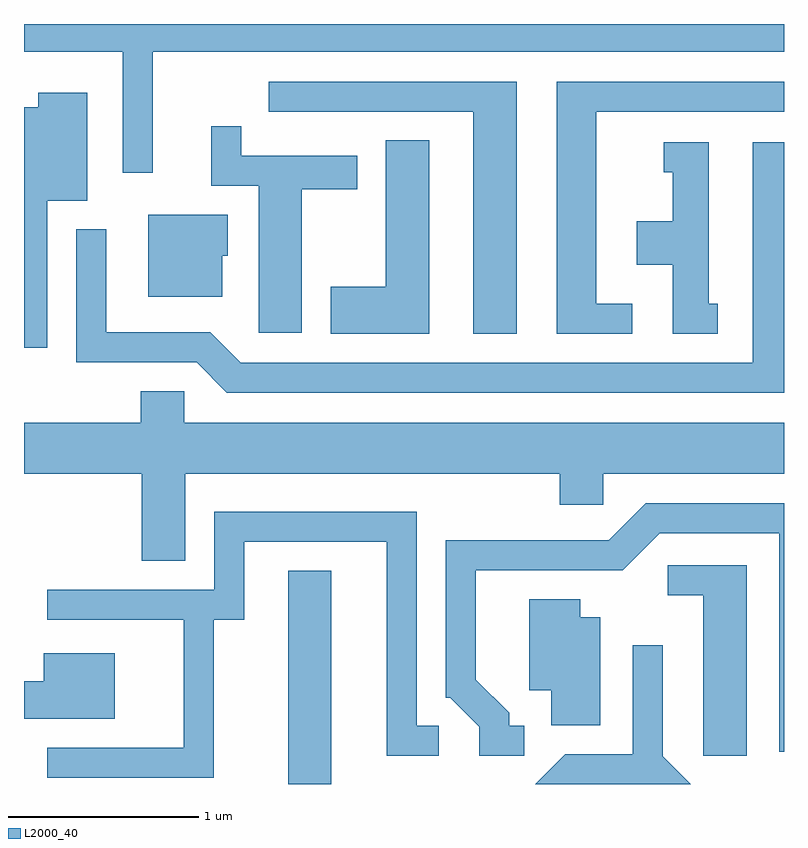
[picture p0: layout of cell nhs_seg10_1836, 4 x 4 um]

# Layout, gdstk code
import gdstk
lib = gdstk.Library(unit=1e-6, precision=1e-09)
def R(c, l, rs):  # rectangles x0, y0, x1, y1
    for r in rs: c.add(gdstk.rectangle(r[:2], r[2:], *l))
def P(c, l, *ps):  # polygons
    for p in ps: c.add(gdstk.Polygon(p, *l))
L2000_40 = (2000, 40)

nhs_seg10_1836 = lib.new_cell('nhs_seg10_1836')
R(nhs_seg10_1836, L2000_40, [(241.001,2094.522,241.229,2095.644)])
P(nhs_seg10_1836, L2000_40, [(240.289,2098.376),(243.611,2098.376),(243.611,2098.522),(239.611,2098.522),(239.611,2098.376),(240.131,2098.376),(240.131,2097.738),(240.289,2097.738)],
  [(242.204,2098.219),(240.898,2098.219),(240.898,2098.061),(241.976,2098.061),(241.976,2096.891),(242.204,2096.891)],
  [(242.813,2097.049),(242.624,2097.049),(242.624,2098.061),(243.611,2098.061),(243.611,2098.219),(242.416,2098.219),(242.416,2096.891),(242.813,2096.891)],
  [(239.734,2097.591),(239.944,2097.591),(239.944,2098.159),(239.686,2098.159),(239.686,2098.084),(239.611,2098.084),(239.611,2096.818),(239.734,2096.818)],
  [(241.074,2097.651),(241.364,2097.651),(241.364,2097.829),(240.754,2097.829),(240.754,2097.983),(240.596,2097.983),(240.596,2097.671),(240.846,2097.671),(240.846,2096.896),(241.074,2096.896)],
  [(241.744,2097.909),(241.516,2097.909),(241.516,2097.139),(241.226,2097.139),(241.226,2096.891),(241.744,2096.891)],
  [(243.611,2097.899),(243.446,2097.899),(243.446,2096.739),(240.752,2096.739),(240.592,2096.899),(240.044,2096.899),(240.044,2097.443),(239.886,2097.443),(239.886,2096.741),(240.519,2096.741),(240.679,2096.581),(243.611,2096.581)],
  [(243.263,2097.049),(243.214,2097.049),(243.214,2097.899),(242.978,2097.899),(242.978,2097.741),(243.026,2097.741),(243.026,2097.484),(242.836,2097.484),(242.836,2097.256),(243.026,2097.256),(243.026,2096.891),(243.263,2096.891)],
  [(240.654,2097.301),(240.684,2097.301),(240.684,2097.519),(240.266,2097.519),(240.266,2097.086),(240.654,2097.086)],
  [(240.459,2096.156),(242.431,2096.156),(242.431,2095.991),(242.659,2095.991),(242.659,2096.156),(243.611,2096.156),(243.611,2096.424),(240.454,2096.424),(240.454,2096.589),(240.226,2096.589),(240.226,2096.424),(239.611,2096.424),(239.611,2096.156),(240.231,2096.156),(240.231,2095.696),(240.459,2095.696)],
  [(242.243,2094.829),(242.164,2094.829),(242.164,2094.896),(241.989,2095.072),(241.989,2095.646),(242.762,2095.646),(242.957,2095.841),(243.586,2095.841),(243.586,2094.691),(243.611,2094.691),(243.611,2095.999),(242.884,2095.999),(242.689,2095.804),(241.831,2095.804),(241.831,2094.976),(241.854,2094.976),(242.006,2094.824),(242.006,2094.671),(242.243,2094.671)],
  [(240.609,2095.386),(240.769,2095.386),(240.769,2095.796),(241.521,2095.796),(241.521,2094.671),(241.793,2094.671),(241.793,2094.829),(241.679,2094.829),(241.679,2095.954),(240.611,2095.954),(240.611,2095.544),(239.733,2095.544),(239.733,2095.386),(240.451,2095.386),(240.451,2094.714),(239.733,2094.714),(239.733,2094.556),(240.609,2094.556)],
  [(243.414,2095.674),(242.998,2095.674),(242.998,2095.516),(243.186,2095.516),(243.186,2094.671),(243.414,2094.671)],
  [(242.644,2095.399),(242.539,2095.399),(242.539,2095.494),(242.271,2095.494),(242.271,2095.016),(242.386,2095.016),(242.386,2094.831),(242.644,2094.831)],
  [(242.974,2094.667),(242.974,2095.253),(242.816,2095.253),(242.816,2094.679),(242.459,2094.679),(242.302,2094.522),(243.119,2094.522)],
  [(240.089,2095.209),(239.716,2095.209),(239.716,2095.064),(239.611,2095.064),(239.611,2094.866),(240.089,2094.866)])

lib.write_gds('nhs_seg10_1836.gds')
